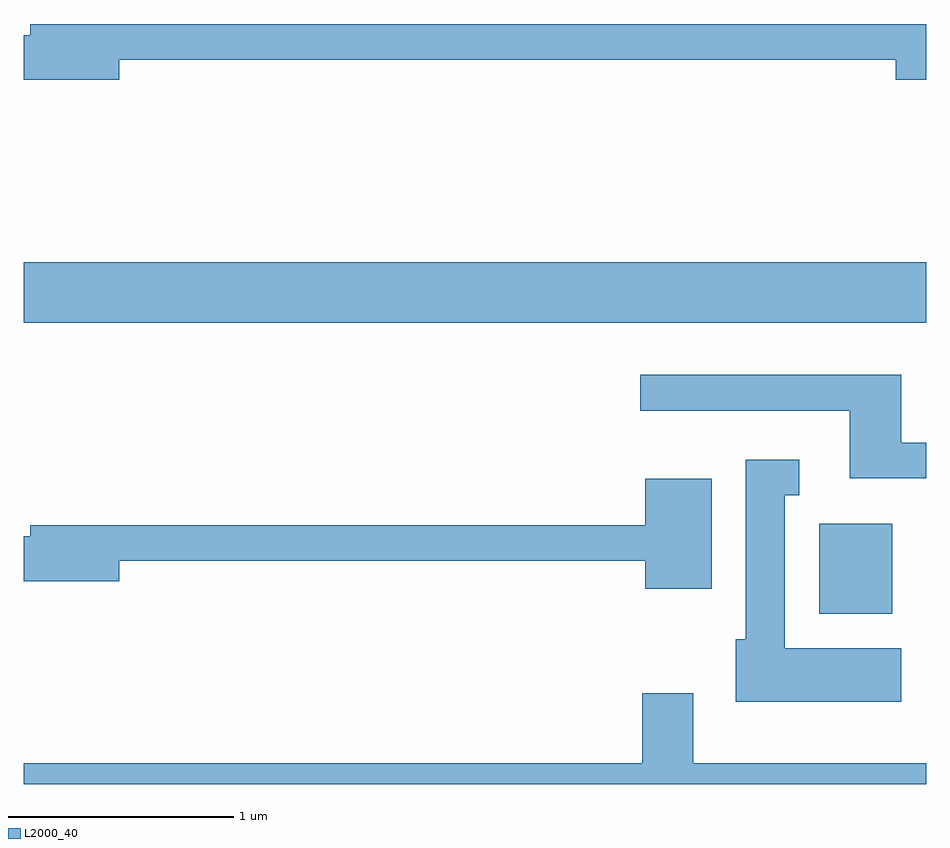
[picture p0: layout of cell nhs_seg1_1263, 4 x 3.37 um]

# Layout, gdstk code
import gdstk
lib = gdstk.Library(unit=1e-6, precision=1e-09)
def R(c, l, rs):  # rectangles x0, y0, x1, y1
    for r in rs: c.add(gdstk.rectangle(r[:2], r[2:], *l))
def P(c, l, *ps):  # polygons
    for p in ps: c.add(gdstk.Polygon(p, *l))
L2000_40 = (2000, 40)

nhs_seg1_1263 = lib.new_cell('nhs_seg1_1263')
R(nhs_seg1_1263, L2000_40, [(227.136,940.466,227.459,940.864), (223.611,941.756,227.611,942.024)])
P(nhs_seg1_1263, L2000_40, [(224.034,942.921),(227.476,942.921),(227.476,942.831),(227.611,942.831),(227.611,943.079),(223.641,943.079),(223.641,943.029),(223.611,943.029),(223.611,942.831),(224.034,942.831)],
  [(227.611,941.224),(227.499,941.224),(227.499,941.524),(226.343,941.524),(226.343,941.366),(227.271,941.366),(227.271,941.066),(227.611,941.066)],
  [(227.499,940.314),(226.984,940.314),(226.984,940.991),(227.048,940.991),(227.048,941.149),(226.811,941.149),(226.811,940.354),(226.766,940.354),(226.766,940.076),(227.499,940.076)],
  [(226.659,941.064),(226.366,941.064),(226.366,940.859),(223.641,940.859),(223.641,940.809),(223.611,940.809),(223.611,940.611),(224.034,940.611),(224.034,940.701),(226.366,940.701),(226.366,940.576),(226.659,940.576)],
  [(227.611,939.804),(226.579,939.804),(226.579,940.114),(226.351,940.114),(226.351,939.804),(223.611,939.804),(223.611,939.712),(227.611,939.712)])

lib.write_gds('nhs_seg1_1263.gds')
